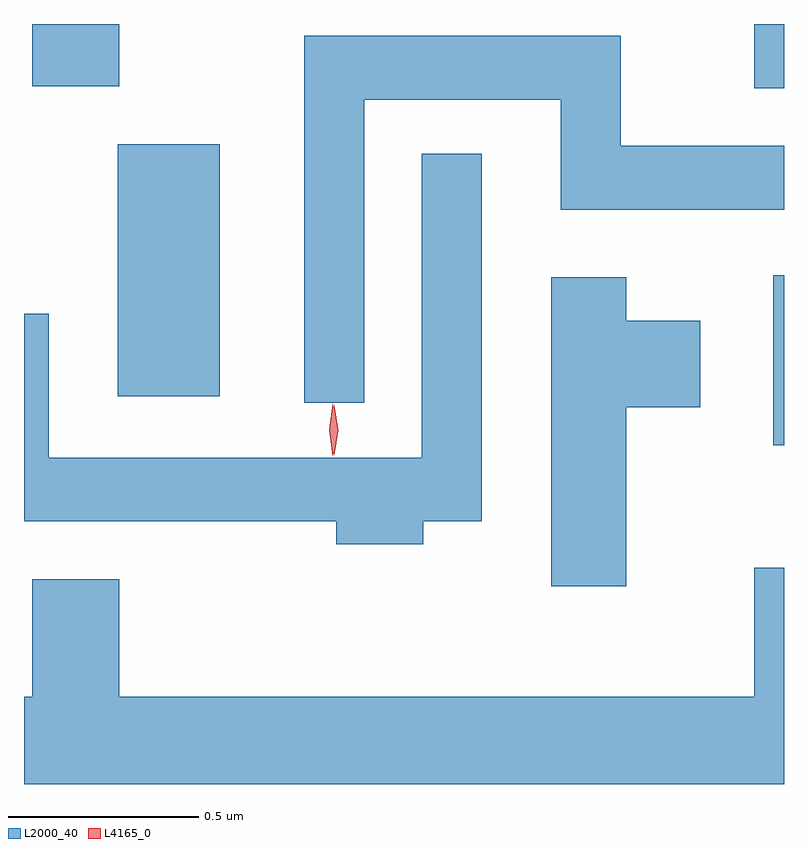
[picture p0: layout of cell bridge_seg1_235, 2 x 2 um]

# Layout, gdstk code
import gdstk
lib = gdstk.Library(unit=1e-6, precision=1e-09)
def R(c, l, rs):  # rectangles x0, y0, x1, y1
    for r in rs: c.add(gdstk.rectangle(r[:2], r[2:], *l))
def P(c, l, *ps):  # polygons
    for p in ps: c.add(gdstk.Polygon(p, *l))
L2000_40 = (2000, 40)
L4165_0 = (4165, 0)

bridge_seg1_235 = lib.new_cell('bridge_seg1_235')
R(bridge_seg1_235, L2000_40, [(835.261,873.866,835.289,874.314), (833.536,873.996,833.804,874.659), (835.211,874.806,835.289,874.975), (833.311,874.811,833.539,874.975)])
P(bridge_seg1_235, L2000_40, [(834.184,874.776),(834.701,874.776),(834.701,874.486),(835.289,874.486),(835.289,874.654),(834.859,874.654),(834.859,874.944),(834.026,874.944),(834.026,873.978),(834.184,873.978)],
  [(834.339,873.666),(834.494,873.666),(834.494,874.633),(834.336,874.633),(834.336,873.834),(833.354,873.834),(833.354,874.213),(833.289,874.213),(833.289,873.666),(834.111,873.666),(834.111,873.606),(834.339,873.606)],
  [(834.874,873.966),(835.069,873.966),(835.069,874.194),(834.874,874.194),(834.874,874.309),(834.676,874.309),(834.676,873.496),(834.874,873.496)],
  [(835.289,873.544),(835.211,873.544),(835.211,873.204),(833.539,873.204),(833.539,873.514),(833.311,873.514),(833.311,873.204),(833.289,873.204),(833.289,872.975),(835.289,872.975)])
P(bridge_seg1_235, L4165_0, [(834.101,873.837),(834.092,873.907),(834.101,873.976),(834.102,873.976),(834.102,873.976),(834.112,873.907),(834.102,873.837),(834.102,873.837)],
  [(834.105,873.84),(834.096,873.906),(834.105,873.972),(834.105,873.973),(834.106,873.972),(834.116,873.906),(834.106,873.84),(834.106,873.84)])

lib.write_gds('bridge_seg1_235.gds')
